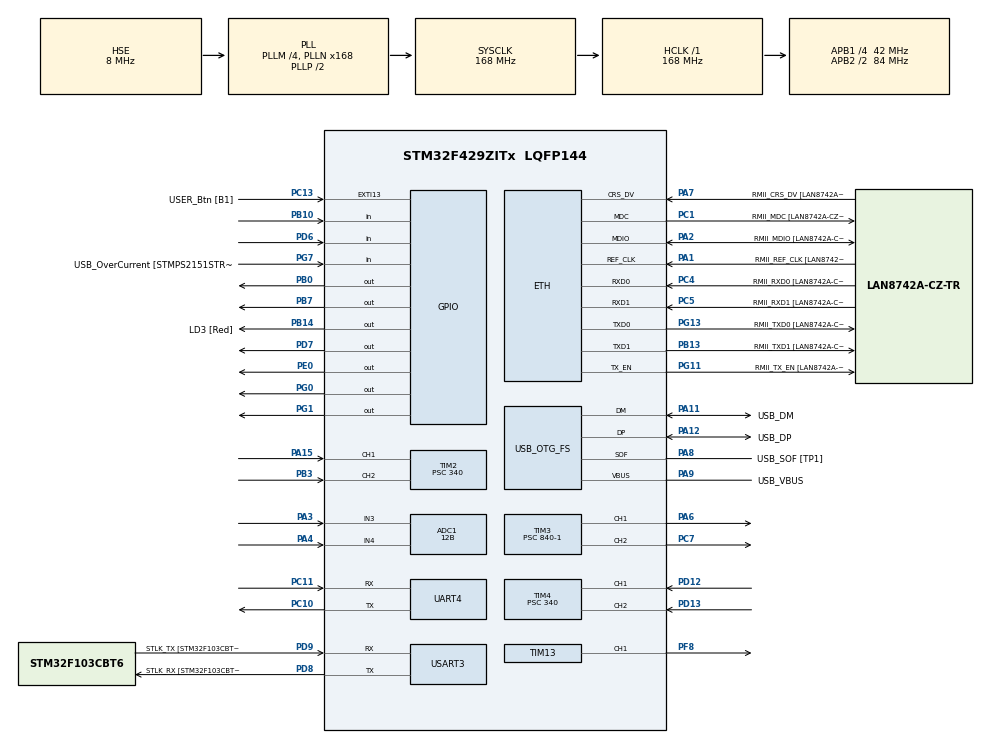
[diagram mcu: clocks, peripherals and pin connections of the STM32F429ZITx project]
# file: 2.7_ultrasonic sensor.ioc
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ADC1.Channel-2\#ChannelRegularConversion=ADC_CHANNEL_3
ADC1.Channel-4\#ChannelRegularConversion=ADC_CHANNEL_4
ADC1.ContinuousConvMode=DISABLE
ADC1.DMAContinuousRequests=ENABLE
ADC1.DiscontinuousConvMode=DISABLE
ADC1.ExternalTrigConv=ADC_EXTERNALTRIGCONV_T8_TRGO
ADC1.NbrOfConversion=2
ADC1.NbrOfConversionFlag=1
ADC1.Rank-2\#ChannelRegularConversion=1
ADC1.Rank-4\#ChannelRegularConversion=2
ADC1.Resolution=ADC_RESOLUTION_12B
ADC1.SamplingTime-2\#ChannelRegularConversion=ADC_SAMPLETIME_480CYCLES
ADC1.SamplingTime-4\#ChannelRegularConversion=ADC_SAMPLETIME_480CYCLES
ADC1.ScanConvMode=ENABLE
ADC1.master=1
Dma.ADC1.0.Direction=DMA_PERIPH_TO_MEMORY
Dma.ADC1.0.FIFOMode=DMA_FIFOMODE_DISABLE
Dma.ADC1.0.Instance=DMA2_Stream0
Dma.ADC1.0.MemDataAlignment=DMA_MDATAALIGN_WORD
Dma.ADC1.0.MemInc=DMA_MINC_ENABLE
Dma.ADC1.0.Mode=DMA_CIRCULAR
Dma.ADC1.0.PeriphDataAlignment=DMA_PDATAALIGN_WORD
Dma.ADC1.0.PeriphInc=DMA_PINC_DISABLE
Dma.ADC1.0.Priority=DMA_PRIORITY_LOW
Dma.Request0=ADC1
Dma.Request1=TIM4_UP
Dma.TIM4_UP.1.Direction=DMA_PERIPH_TO_MEMORY
Dma.TIM4_UP.1.FIFOMode=DMA_FIFOMODE_DISABLE
Dma.TIM4_UP.1.Instance=DMA1_Stream6
Dma.TIM4_UP.1.MemDataAlignment=DMA_MDATAALIGN_HALFWORD
Dma.TIM4_UP.1.MemInc=DMA_MINC_ENABLE
Dma.TIM4_UP.1.Mode=DMA_NORMAL
Dma.TIM4_UP.1.PeriphDataAlignment=DMA_PDATAALIGN_HALFWORD
Dma.TIM4_UP.1.PeriphInc=DMA_PINC_DISABLE
Dma.TIM4_UP.1.Priority=DMA_PRIORITY_LOW
ETH.MediaInterface=HAL_ETH_RMII_MODE
ETH.PHY_Name=LAN8742A_PHY_ADDRESS
ETH.PHY_Value=0
ETH.PhyAddress=0
Mcu.Family=STM32F4
Mcu.Name=STM32F429ZITx
Mcu.Package=LQFP144
NVIC.ADC_IRQn=true\:0\:0\:false\:false\:true\:true\:true\:true
NVIC.DMA1_Stream6_IRQn=true\:0\:0\:false\:false\:true\:false\:true\:true
NVIC.DMA2_Stream0_IRQn=true\:0\:0\:false\:false\:true\:false\:true\:true
NVIC.PriorityGroup=NVIC_PRIORITYGROUP_4
NVIC.TIM3_IRQn=true\:0\:0\:false\:false\:true\:true\:true\:true
NVIC.TIM6_DAC_IRQn=true\:6\:0\:true\:false\:true\:true\:true\:true
NVIC.TIM7_IRQn=true\:5\:0\:true\:false\:true\:true\:true\:true
NVIC.TIM8_TRG_COM_TIM14_IRQn=true\:0\:0\:false\:false\:true\:true\:true\:true
NVIC.TIM8_UP_TIM13_IRQn=true\:0\:0\:false\:false\:true\:true\:true\:true
NVIC.UART4_IRQn=true\:0\:0\:false\:false\:true\:true\:true\:true
NVIC.USART3_IRQn=true\:0\:0\:false\:false\:true\:true\:true\:true
PA1.GPIO_Label=RMII_REF_CLK [LAN8742A-CZ-TR_REFCLK0]
PA1.Mode=RMII
PA1.Signal=ETH_REF_CLK
PA10.GPIO_Label=USB_ID
PA10.Signal=USB_OTG_FS_ID
PA11.GPIO_Label=USB_DM
PA11.Mode=Device_Only
PA11.Signal=USB_OTG_FS_DM
PA12.GPIO_Label=USB_DP
PA12.Mode=Device_Only
PA12.Signal=USB_OTG_FS_DP
PA13.GPIO_Label=TMS
PA13.Mode=Serial_Wire
PA13.Signal=SYS_JTMS-SWDIO
PA14.GPIO_Label=TCK
PA14.Mode=Serial_Wire
PA14.Signal=SYS_JTCK-SWCLK
PA15.Signal=S_TIM2_CH1_ETR
PA2.GPIO_Label=RMII_MDIO [LAN8742A-CZ-TR_MDIO]
PA2.Mode=RMII
PA2.Signal=ETH_MDIO
PA3.Signal=ADCx_IN3
PA4.Signal=ADCx_IN4
PA6.Signal=S_TIM3_CH1
PA7.GPIO_Label=RMII_CRS_DV [LAN8742A-CZ-TR_CRS_DV]
PA7.Mode=RMII
PA7.Signal=ETH_CRS_DV
PA8.GPIO_Label=USB_SOF [TP1]
PA8.Mode=Activate_SOF_FS
PA8.Signal=USB_OTG_FS_SOF
PA9.GPIO_Label=USB_VBUS
PA9.Mode=Activate_VBUS
PA9.Signal=USB_OTG_FS_VBUS
PB0.Signal=GPIO_Output
PB10.Signal=GPIO_Input
PB13.GPIO_Label=RMII_TXD1 [LAN8742A-CZ-TR_TXD1]
PB13.Mode=RMII
PB13.Signal=ETH_TXD1
PB14.GPIO_Label=LD3 [Red]
PB14.Signal=GPIO_Output
PB3.Signal=S_TIM2_CH2
PB7.Signal=GPIO_Output
PC1.GPIO_Label=RMII_MDC [LAN8742A-CZ-TR_MDC]
PC1.Mode=RMII
PC1.Signal=ETH_MDC
PC10.Mode=Asynchronous
PC10.Signal=UART4_TX
PC11.Mode=Asynchronous
PC11.Signal=UART4_RX
PC13.GPIO_Label=USER_Btn [B1]
PC13.Signal=GPXTI13
PC14/OSC32_IN.Mode=LSE-External-Oscillator
PC14/OSC32_IN.Signal=RCC_OSC32_IN
PC15/OSC32_OUT.Mode=LSE-External-Oscillator
PC15/OSC32_OUT.Signal=RCC_OSC32_OUT
PC4.GPIO_Label=RMII_RXD0 [LAN8742A-CZ-TR_RXD0]
PC4.Mode=RMII
PC4.Signal=ETH_RXD0
PC5.GPIO_Label=RMII_RXD1 [LAN8742A-CZ-TR_RXD1]
PC5.Mode=RMII
PC5.Signal=ETH_RXD1
PC7.Signal=S_TIM3_CH2
PD12.Signal=S_TIM4_CH1
PD13.Signal=S_TIM4_CH2
PD6.Signal=GPIO_Input
PD7.Signal=GPIO_Output
PD8.GPIO_Label=STLK_RX [STM32F103CBT6_PA3]
PD8.Mode=Asynchronous
PD8.Signal=USART3_TX
PD9.GPIO_Label=STLK_TX [STM32F103CBT6_PA2]
PD9.Mode=Asynchronous
PD9.Signal=USART3_RX
PE0.Signal=GPIO_Output
PF8.Signal=S_TIM13_CH1
PG0.Signal=GPIO_Output
PG1.Signal=GPIO_Output
PG11.GPIO_Label=RMII_TX_EN [LAN8742A-CZ-TR_TXEN]
PG11.Mode=RMII
PG11.Signal=ETH_TX_EN
PG13.GPIO_Label=RMII_TXD0 [LAN8742A-CZ-TR_TXD0]
PG13.Mode=RMII
PG13.Signal=ETH_TXD0
PG7.GPIO_Label=USB_OverCurrent [STMPS2151STR_FAULT]
PG7.Signal=GPIO_Input
PH0/OSC_IN.GPIO_Label=MCO [STM32F103CBT6_PA8]
PH0/OSC_IN.Mode=HSE-External-Clock-Source
PH0/OSC_IN.Signal=RCC_OSC_IN
PH1/OSC_OUT.Mode=HSE-External-Clock-Source
PH1/OSC_OUT.Signal=RCC_OSC_OUT
ProjectManager.HeapSize=0x200
ProjectManager.StackSize=0x400
ProjectManager.TargetToolchain=STM32CubeIDE
RCC.48MHZClocksFreq_Value=48000000
RCC.AHBFreq_Value=168000000
RCC.APB1CLKDivider=RCC_HCLK_DIV4
RCC.APB1Freq_Value=42000000
RCC.APB1TimFreq_Value=84000000
RCC.APB2CLKDivider=RCC_HCLK_DIV2
RCC.APB2Freq_Value=84000000
RCC.APB2TimCLKDivider=2
RCC.APB2TimFreq_Value=168000000
RCC.CortexFreq_Value=168000000
RCC.HCLKFreq_Value=168000000
RCC.HSE_VALUE=8000000
RCC.HSI_VALUE=16000000
RCC.PLLM=4
RCC.PLLMUL=RCC_PLL_MUL9
RCC.PLLN=168
RCC.PLLQ=7
RCC.PRESCALERUSB=RCC_USBCLKSOURCE_PLL_DIV1_5
RCC.SYSCLKFreq_VALUE=168000000
RCC.SYSCLKSource=RCC_SYSCLKSOURCE_PLLCLK
RCC.SYSCLKSourceVirtual=RCC_SYSCLKSOURCE_PLLCLK
RCC.USBFreq_Value=48000000
RCC.VCOOutputFreq_Value=336000000
SH.ADCx_IN3.0=ADC1_IN3,IN3
SH.ADCx_IN4.0=ADC1_IN4,IN4
SH.S_TIM13_CH1.0=TIM13_CH1,PWM Generation1 CH1
SH.S_TIM2_CH1_ETR.0=TIM2_CH1,Encoder_Interface
SH.S_TIM2_CH2.0=TIM2_CH2,Encoder_Interface
SH.S_TIM3_CH1.0=TIM3_CH1,PWM Generation1 CH1
SH.S_TIM3_CH2.0=TIM3_CH2,PWM Generation2 CH2
SH.S_TIM4_CH1.0=TIM4_CH1,Encoder_Interface
SH.S_TIM4_CH2.0=TIM4_CH2,Encoder_Interface
TIM1.Prescaler=84-1
TIM13.Channel=TIM_CHANNEL_1
TIM13.Period=100
TIM13.Prescaler=84
TIM13.Pulse=50
TIM14.Period=10000-1
TIM14.Prescaler=8400-1
TIM2.EncoderMode=TIM_ENCODERMODE_TI12
TIM2.Period=65000
TIM2.Prescaler=340
TIM3.Channel-PWM\ Generation1\ CH1=TIM_CHANNEL_1
TIM3.Channel-PWM\ Generation2\ CH2=TIM_CHANNEL_2
TIM3.OC1Preload_PWM=DISABLE
TIM3.OC2Preload_PWM=DISABLE
TIM3.Period=1000-1
TIM3.Prescaler=840-1
TIM3.Pulse-PWM\ Generation1\ CH1=100
TIM3.Pulse-PWM\ Generation2\ CH2=100
TIM4.EncoderMode=TIM_ENCODERMODE_TI12
TIM4.Period=65000
TIM4.Prescaler=340
TIM6.Period=1000-1
TIM6.Prescaler=84-1
TIM7.Period=1000-1
TIM7.Prescaler=84-1
TIM8.Channel-Output\ Compare4\ No\ Output=TIM_CHANNEL_4
TIM8.Period=50-1
TIM8.Prescaler=840-1
TIM8.Pulse-Output\ Compare4\ No\ Output=2000
TIM8.TIM_MasterOutputTrigger=TIM_TRGO_UPDATE
UART4.Parity=PARITY_EVEN
UART4.VirtualMode=Asynchronous
USART3.VirtualMode=VM_ASYNC
USB_OTG_FS.VirtualMode=Device_Only
VP_TIM13_VS_ClockSourceINT.Mode=Enable_Timer
VP_TIM14_VS_ClockSourceINT.Mode=Enable_Timer
VP_TIM1_VS_ClockSourceINT.Mode=Internal
VP_TIM3_VS_ClockSourceINT.Mode=Internal
VP_TIM6_VS_ClockSourceINT.Mode=Enable_Timer
VP_TIM7_VS_ClockSourceINT.Mode=Enable_Timer
VP_TIM8_VS_ClockSourceINT.Mode=Internal
VP_TIM8_VS_no_output4.Mode=Output Compare4 No Output
board=NUCLEO-F429ZI

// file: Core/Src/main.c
/* USER CODE BEGIN Header */
/**
  ******************************************************************************
  * @file           : main.c
  * @brief          : Main program body
  ******************************************************************************
  * @attention
  *
  * Copyright (c) 2024 STMicroelectronics.
  * All rights reserved.
  *
  * This software is licensed under terms that can be found in the LICENSE file
  * in the root directory of this software component.
  * If no LICENSE file comes with this software, it is provided AS-IS.
  *
  ******************************************************************************
  */
/* USER CODE END Header */
#include "main.h"
#include "string.h"
#include <stdio.h>
/* USER CODE BEGIN Includes */

 // USER CODE BEGIN 4 ,USER CODE BEGIN PFP  +while?�� printf 추�? ?��
void SerialSendChar_PC(uint8_t c1);
void SerialSendChar_WIFI(uint8_t c2);

uint8_t buffer[256];

extern uint8_t key_value;             //추�?****************************
extern UART_HandleTypeDef huart3;       //추�?****************************
uint8_t key_value;
UART_HandleTypeDef huart3;
uint8_t data;
UART_HandleTypeDef huart4;

uint32_t encoder_count=0;
char uart_buf[30];

int8_t RX_flag=0;

float RPM;
float RPS;
uint16_t RPM_uint16;

uint32_t ADC1_value[2];
uint32_t ADC1_0;
uint32_t ADC1_1;

uint8_t ENC[4];

#define pi 3.141592

//       @@@@@@@@@@@@@@@@@@@@@@@@@@@@@@@@@@@@@@@@@@@@@@@@  PID

float Ra =12.1;
float Kt = 4.534;
float Ke = 4.534;
float B = 0.09;
float Js = 1.84;
float La = 0.0003342;
//float Wci = 804.2;
float Wci = 3142;
//float Wcw = 80.42;
float Wcw = 314;
float a = 0.9;

//I control
float i_input;
float i_sensor;
float i_error;
float i_error_sum=0;
float i_kp = 0.0003342 * 3142 ;
float i_ki = 12.1 * 3142;
float i_ka = 1/(0.0003342 * 3142);
float i_vs=0;
float i_v_ref=0;

float I_KP;
float I_KI;

//Speed control
float speed_input;
float speed_sensor;
float speed_error;
float speed_error_sum = 0.0;
float speed_kp = 0.9* 1.84*314/4.534;  //a*Js*Wcw/Kt
float speed_ki =1.84*314*314/(5*4.534);   //Js*Wcw*Wcw/(5*Kt)
float speed_ka = 1/(1.84*314/4.534);  //1/(Js*Wcw/Kt)
float speed_is=0;
float speed_i_ref=0;
float speed_kps = (1-0.9)*1.84*314/4.534 ;  //(1-a)*Js*Wcw/Kt

float S_KP;
float S_KI;
float Omega;

float x;
float duty=0;

extern int tim6_flag;
uint8_t key_flag;

extern uint8_t time_1s;
extern float set_position;

extern uint8_t stop_flag;

  int count=0;
float f = 1.234;

/* USER CODE END Includes */

/* USER CODE BEGIN PTD */
void SerialSendChar_PC(uint8_t Ch1) // 1문자 보내�?????????????????????????????? ?��?��
{
	// USART_SR_TXE(1<<7)=0?, TX Buffer NOT Empty?
	// TX buffer Empty?���?????????????????????????????? ?��?���?????????????????????????????? 계속 ??�??????????????????????????????(?��?�� �???????????????????????????????��?�� ?��?��까�? ??�??????????????????????????????)
        while((USART3->SR & 1<<7) == RESET);
	USART3->DR = (Ch1 & 0x01FF);	// ?��?�� (최�? 9bit ?���??????????????????????????????�?????????????????????????????? 0x01FF�?????????????????????????????? masking)
}

void SerialSendChar_WIFI(uint8_t Ch2) // 1문자 보내�?????????????????????????????? ?��?��
{
	// USART_SR_TXE(1<<7)=0?, TX Buffer NOT Empty?
	// TX buffer Empty?���?????????????????????????????? ?��?���?????????????????????????????? 계속 ??�??????????????????????????????(?��?�� �???????????????????????????????��?�� ?��?��까�? ??�??????????????????????????????)
        while((UART4->SR & 1<<7) == RESET);
	UART4->DR = (Ch2 & 0x01FF);	// ?��?�� (최�? 9bit ?���??????????????????????????????�?????????????????????????????? 0x01FF�?????????????????????????????? masking)
}

void HAL_UART_RxCpltCallback(UART_HandleTypeDef *huart)
{
	encoder_count=TIM4->CNT;

  if(huart->Instance == USART3)
  {

	  HAL_UART_Receive_IT(&huart3, &key_value, 1);
	  printf("%d,^^ %c \r\n", key_value,key_value);

	  if(key_value=='q')  // forward
	  	 	  {
	  	 		  GPIOE->ODR |= 1<<0;  // forward
	  	 		  GPIOB->ODR |= 1<<0;  //LD1

	  	 	  }
	  else if(key_value=='w')  // back
		  	 	  {
		  	 		  GPIOE->ODR &= ~1<<0;  // back
		  	 		GPIOB->ODR &= ~1<<0;  //LD1
		  	 	  }

	  else if(key_value=='1')
	 	  {
	 		  GPIOG->ODR |= 1<<0;  //stop

	 	  }

	  else  if(key_value=='2')
	  {
		  GPIOG->ODR &= ~1<<0;  //start

	  }
	  else if(key_value=='3')
	  {

			TIM3->CCR1 = 50;
			TIM3->CCR2 = 50;
	  }
	  else if(key_value=='4')
	  	  {

	  			TIM3->CCR1 = 100;
	  			TIM3->CCR2 = 100;
	  	  }
	  else if(key_value=='5')
	  	  	  {

	  	  			TIM3->CCR1 = 500;
	  	  		TIM3->CCR2 = 500;
	  	  	  }
	  else if(key_value=='6')
	  	  	  {

	  	  			TIM3->CCR1 = 800;
	  	  		TIM3->CCR2 = 800;
	  	  	  }
	  else if(key_value=='7')
	  	  	  {

	  	  			TIM3->CCR1 = 1000;
	  	  		TIM3->CCR2 = 1000;
	  	  	  }
	  else if(key_value=='a')
	  {
		  TIM4->CNT=10000;

		  key_flag=1;
	  }
	  else if(key_value=='b')
	 {
		  time_1s=0;
		  set_position=30;
     }
	  else if(key_value=='z')
	  	 	  {

	  	  	  	 speed_input=10*2*pi/60;

	//  	  	  	x=speed_input;
	//  	  	    duty = 2.0881*pow(x,6) - 36.163*pow(x,5) + 248.4*pow(x,4) - 851.05*pow(x,3) + 1486.5*pow(x,2) - 1164.9*x + 249.29;
	  	  //[%]

	  	//  	TIM3->CCR1 = 1000*duty/100;
	  	//  		TIM3->CCR2 = 1000*duty/100;
	  	  	  	  }
	  else if(key_value=='x')
	  	  	  	  {
	  	  	  	GPIOB->ODR &= ~1<<0;

	  	  	   speed_input=45*2*pi/60;

  	// 	   x=speed_input;
	 //		  duty = 2.0881*pow(x,6) - 36.163*pow(x,5) + 248.4*pow(x,4) - 851.05*pow(x,3) + 1486.5*pow(x,2) - 1164.9*x + 249.29;
	  	  		 	  //[%]
	  	//	  TIM3->CCR1 = 1000*duty/100;
	  	//		  	TIM3->CCR2 = 1000*duty/100;

	  	  	  	  }
	  else if(key_value=='c')
 	  	  	  {
	  	  	  	GPIOB->ODR &= ~1<<0;

	//  	  	HAL_TIM_Base_Stop_IT(&htim6);
	 	  	  	  	  }

  }
  if(huart->Instance == UART4)
    {
	  HAL_UART_Receive_IT(&huart4, &data, 1);

		switch(data)
		{
		case '0':
			 GPIOB->ODR |= 1<<0;
			GPIOG->ODR &= ~1<<0;// start

			break;

		case '1':  //stop
			  GPIOB->ODR &= ~1<<0;
	          GPIOG->ODR |= 1<<0;
			break;

		case '2':  //dir
			  GPIOE->ODR |= 1<<0;  // forward
			break;

		case '3'://dir
			 GPIOE->ODR &= ~1<<0;  //back
			break;

		case '4':

		    TIM3->CCR1 = 0;
			TIM3->CCR2 = 0;

			break;

		case '5':
			TIM3->CCR1 = 50;
			TIM3->CCR2 = 50;
			break;

		case '6':
			TIM3->CCR1 = 200;
			TIM3->CCR2 = 200;
			break;

		case '7':
			TIM3->CCR1 = 1000;
			TIM3->CCR2 = 1000;
			break;

		case '!':
			RX_flag=1;
			 TIM2->CNT=0;
			 TIM4->CNT=0;
			break;
		case 'A':  //Tx

			RX_flag=2;
				break;
		}

    }

}

/* USER CODE END PTD */

/* USER CODE BEGIN PD */
int _write(int file, char* p, int len){
	for(int i=0; i<len; i++){
		ITM_SendChar((*p++));
	}
	return len;
}

/* USER CODE END PD */

ETH_TxPacketConfig TxConfig;
ETH_DMADescTypeDef  DMARxDscrTab[ETH_RX_DESC_CNT]; /* Ethernet Rx DMA Descriptors */
ETH_DMADescTypeDef  DMATxDscrTab[ETH_TX_DESC_CNT]; /* Ethernet Tx DMA Descriptors */

ADC_HandleTypeDef hadc1;
DMA_HandleTypeDef hdma_adc1;

ETH_HandleTypeDef heth;

TIM_HandleTypeDef htim1;
TIM_HandleTypeDef htim2;
TIM_HandleTypeDef htim3;
TIM_HandleTypeDef htim4;
TIM_HandleTypeDef htim6;
TIM_HandleTypeDef htim7;
TIM_HandleTypeDef htim8;
TIM_HandleTypeDef htim13;
TIM_HandleTypeDef htim14;
DMA_HandleTypeDef hdma_tim4_up;

UART_HandleTypeDef huart4;
UART_HandleTypeDef huart3;

PCD_HandleTypeDef hpcd_USB_OTG_FS;

/* USER CODE BEGIN PV */
#define TRIG_PIN GPIO_PIN_7
#define TRIG_PORT GPIOD
#define ECHO_PIN GPIO_PIN_6
#define ECHO_PORT GPIOD
uint32_t pMillis;
uint32_t Value1 = 0;
uint32_t Value2 = 0;
float Distance  = 0;  // cm
/* USER CODE END PV */

void SystemClock_Config(void);
static void MX_GPIO_Init(void);
static void MX_DMA_Init(void);
static void MX_ETH_Init(void);
static void MX_USART3_UART_Init(void);
static void MX_USB_OTG_FS_PCD_Init(void);
static void MX_TIM3_Init(void);
static void MX_TIM14_Init(void);
static void MX_ADC1_Init(void);
static void MX_TIM4_Init(void);
static void MX_UART4_Init(void);
static void MX_TIM2_Init(void);
static void MX_TIM8_Init(void);
static void MX_TIM6_Init(void);
static void MX_TIM7_Init(void);
static void MX_TIM13_Init(void);
static void MX_TIM1_Init(void);
/* USER CODE BEGIN PFP */
#ifdef __GNUC__           //추�?****************************
/* With GCC, small printf (option LD Linker->Libraries->Small printf
   set to 'Yes') calls __io_putchar() */
#define PUTCHAR_PROTOTYPE int __io_putchar(int ch)
#else
#define PUTCHAR_PROTOTYPE int fputc(int ch, FILE *f)
#endif /* __GNUC__ */

/**
  * @brief  Retargets the C library printf function to the USART.
  * @param  None
  * @retval None
  */
PUTCHAR_PROTOTYPE              //추�?****************************
{
  /* Place your implementation of fputc here */
  /* e.g. write a character to the USART3 and Loop until the end of transmission */
  if(ch=='\n')
	  HAL_UART_Transmit(&huart3, (uint8_t *)"\r", 1, 0xFFFF);
	HAL_UART_Transmit(&huart3, (uint8_t *)&ch, 1, 0xFFFF);

  return ch;
}

/* USER CODE END PFP */

/* USER CODE BEGIN 0 */
//HAL_UART_Receive_IT(&huart3, &key_value, 1);

void delay_us(uint16_t time) {
	__HAL_TIM_SET_COUNTER(&htim7, 0);              // ???��머�?? 0?���???? 초기?��
	while((__HAL_TIM_GET_COUNTER(&htim7))<time);   // ?��?��?�� ?��간까�???? ??�????
}

/* USER CODE END 0 */

int main(void)
{

  /* MCU Configuration--------------------------------------------------------*/

  /* Reset of all peripherals, Initializes the Flash interface and the Systick. */
    HAL_Init();

  /* Configure the system clock */
  SystemClock_Config();

  /* Initialize all configured peripherals */
  MX_GPIO_Init();
  MX_DMA_Init();
  MX_ETH_Init();
  MX_USART3_UART_Init();
  MX_USB_OTG_FS_PCD_Init();
  MX_TIM3_Init();
  MX_TIM14_Init();
  MX_ADC1_Init();
  MX_TIM4_Init();
  MX_UART4_Init();
  MX_TIM2_Init();
  MX_TIM8_Init();
  MX_TIM6_Init();
  MX_TIM7_Init();
  MX_TIM13_Init();
  MX_TIM1_Init();
  /* USER CODE BEGIN 2 */

  HAL_UART_Receive_IT(&huart3, &key_value, 1);     //추�?****************************
  HAL_UART_Receive_IT(&huart4, &data, 1);

  HAL_ADC_Start_DMA(&hadc1, (uint32_t*)ADC1_value, 2);

   sprintf((char *)buffer, "Hello, World!\n");
   HAL_UART_Transmit(&huart4, buffer, strlen((char *)buffer), 100);

   HAL_TIM_Base_Start_IT(&htim6);
   HAL_TIM_Base_Start_IT(&htim7);

   HAL_TIM_Base_Start(&htim1);
     HAL_GPIO_WritePin(TRIG_PORT, TRIG_PIN, GPIO_PIN_RESET);  // pull the TRIG pin low

//  HAL_ADC_Start_DMA(&hadc1,&ADC1_value[1], 1);
  /* USER CODE END 2 */

  /* Infinite loop */
  while (1)
  {

    /* USER CODE BEGIN 3 */
	  if(tim6_flag==1)
	  {

	  HAL_GPIO_WritePin(TRIG_PORT, TRIG_PIN, GPIO_PIN_SET);  // pull the TRIG pin HIGH
	    	      __HAL_TIM_SET_COUNTER(&htim1, 0);
	    	      while (__HAL_TIM_GET_COUNTER (&htim1) < 10);  // wait for 10 us
	    	      HAL_GPIO_WritePin(TRIG_PORT, TRIG_PIN, GPIO_PIN_RESET);  // pull the TRIG pin low

	    	      pMillis = HAL_GetTick(); // used this to avoid infinite while loop  (for timeout)
	    	      // wait for the echo pin to go high
	    	      while (!(HAL_GPIO_ReadPin (ECHO_PORT, ECHO_PIN)) && pMillis + 10 >  HAL_GetTick());
	    	      Value1 = __HAL_TIM_GET_COUNTER (&htim1);

	    	      pMillis = HAL_GetTick(); // used this to avoid infinite while loop (for timeout)
	    	      // wait for the echo pin to go low
	    	      while ((HAL_GPIO_ReadPin (ECHO_PORT, ECHO_PIN)) && pMillis + 50 > HAL_GetTick());
	    	      Value2 = __HAL_TIM_GET_COUNTER (&htim1);

	    	      Distance = (Value2-Value1)* 0.017/2;
	    	 //     printf("Distance = %f \r\n",Distance);
	    	      sprintf((char *)buffer, "%d \r\n",Distance);
	    	      HAL_UART_Transmit(&huart3, buffer, strlen((char *)buffer), 100);
	    	      tim6_flag=0;
	  }

//	  TIM3->CCR1 = 1000*duty/100;
 // 	TIM3->CCR2 = 1000*duty/100;

	  	  	  RPM_uint16=RPM*100;

	  		  		  ENC[3]=RPM_uint16 / 1000;		// 10000 ?���??????????????????????????????
	  		  		 		ENC[2]=RPM_uint16 % 1000/100;	// 1000 ?���??????????????????????????????
	  		  		 		ENC[1]= RPM_uint16 % 100/10;	// 100 ?���??????????????????????????????
	  		  		 	ENC[0]=RPM_uint16 % 10/1;		// 10 ?���??????????????????????????????

	  		  	SerialSendChar_WIFI('?');

	  		  			SerialSendChar_WIFI('0');
	  		  			SerialSendChar_WIFI('0');
	  		  			SerialSendChar_WIFI('0');
	  		  			SerialSendChar_WIFI('0');

	  		  	      SerialSendChar_WIFI(ENC[3]+0x30);
	  		  	 	    SerialSendChar_WIFI(ENC[2]+0x30);
	  		  	  	  SerialSendChar_WIFI(ENC[1]+0x30);
	  		  		  SerialSendChar_WIFI(ENC[0]+0x30);

	  		  		//  sprintf((char *)buffer, "%d \r\n",RPM_uint16);
	  		  	//	 	  		  	  HAL_UART_Transmit(&huart3, buffer, strlen((char *)buffer), 100);

	//  	SerialSendChar_PC('\n');
//	  	SerialSendChar_PC('\r');

//	  sprintf((char *)buffer, "%d \r\n",ADC1_1);
	//  	  HAL_UART_Transmit(&huart4, buffer, strlen((char *)buffer), 100);

	//  	 sprintf((char *)buffer, "%d \r\n",RPM_uint16);
	  //		  	  HAL_UART_Transmit(&huart3, buffer, strlen((char *)buffer), 100);
	//  	  HAL_Delay(2000);

/*
if(encoder_count>=512)
{
	TIM3->CCR1 = 0;  //TIM3->CCR1
}
*/
	  if(RX_flag==1)
	  {
		 // RX_flag=0;
		//  TIM4->CNT=0;
	  	 		TIM3->CCR1 = 1000;
	  	 		TIM3->CCR2 = 1000;
	  	 			if(encoder_count>=1200)
	  		 		{
	  	 				TIM3->CCR1 = 50;

	  	 				GPIOG->ODR |= 1<<0;
	  	 				HAL_Delay(100);
	  	 				GPIOG->ODR &= ~1<<0;
	  	 				TIM3->CCR1 = 50;
	  	 				if(encoder_count>=512*3)
	  	 				{
	  	 					TIM3->CCR1 = 0;
	  	 					RX_flag=0;
	  	 				}

	  	 	     	}

	  }

//	  HAL_Delay(1);

  }
  /* USER CODE END 3 */
}

void SystemClock_Config(void)
{
  RCC_OscInitTypeDef RCC_OscInitStruct = {0};
  RCC_ClkInitTypeDef RCC_ClkInitStruct = {0};

  /** Configure the main internal regulator output voltage
  */
  __HAL_RCC_PWR_CLK_ENABLE();
  __HAL_PWR_VOLTAGESCALING_CONFIG(PWR_REGULATOR_VOLTAGE_SCALE1);

  /** Initializes the RCC Oscillators according to the specified parameters
  * in the RCC_OscInitTypeDef structure.
  */
  RCC_OscInitStruct.OscillatorType = RCC_OSCILLATORTYPE_HSE;
  RCC_OscInitStruct.HSEState = RCC_HSE_BYPASS;
  RCC_OscInitStruct.PLL.PLLState = RCC_PLL_ON;
  RCC_OscInitStruct.PLL.PLLSource = RCC_PLLSOURCE_HSE;
  RCC_OscInitStruct.PLL.PLLM = 4;
  RCC_OscInitStruct.PLL.PLLN = 168;
  RCC_OscInitStruct.PLL.PLLP = RCC_PLLP_DIV2;
  RCC_OscInitStruct.PLL.PLLQ = 7;
  if (HAL_RCC_OscConfig(&RCC_OscInitStruct) != HAL_OK)
  {
    Error_Handler();
  }

  /** Initializes the CPU, AHB and APB buses clocks
  */
  RCC_ClkInitStruct.ClockType = RCC_CLOCKTYPE_HCLK|RCC_CLOCKTYPE_SYSCLK
                              |RCC_CLOCKTYPE_PCLK1|RCC_CLOCKTYPE_PCLK2;
  RCC_ClkInitStruct.SYSCLKSource = RCC_SYSCLKSOURCE_PLLCLK;
  RCC_ClkInitStruct.AHBCLKDivider = RCC_SYSCLK_DIV1;
  RCC_ClkInitStruct.APB1CLKDivider = RCC_HCLK_DIV4;
  RCC_ClkInitStruct.APB2CLKDivider = RCC_HCLK_DIV2;

  if (HAL_RCC_ClockConfig(&RCC_ClkInitStruct, FLASH_LATENCY_5) != HAL_OK)
  {
    Error_Handler();
  }
}

static void MX_ADC1_Init(void)
{

  ADC_ChannelConfTypeDef sConfig = {0};

  /** Configure the global features of the ADC (Clock, Resolution, Data Alignment and number of conversion)
  */
  hadc1.Instance = ADC1;
  hadc1.Init.ClockPrescaler = ADC_CLOCK_SYNC_PCLK_DIV4;
  hadc1.Init.Resolution = ADC_RESOLUTION_12B;
  hadc1.Init.ScanConvMode = ENABLE;
  hadc1.Init.ContinuousConvMode = DISABLE;
  hadc1.Init.DiscontinuousConvMode = DISABLE;
  hadc1.Init.ExternalTrigConvEdge = ADC_EXTERNALTRIGCONVEDGE_RISING;
  hadc1.Init.ExternalTrigConv = ADC_EXTERNALTRIGCONV_T8_TRGO;
  hadc1.Init.DataAlign = ADC_DATAALIGN_RIGHT;
  hadc1.Init.NbrOfConversion = 2;
  hadc1.Init.DMAContinuousRequests = ENABLE;
  hadc1.Init.EOCSelection = ADC_EOC_SINGLE_CONV;
  if (HAL_ADC_Init(&hadc1) != HAL_OK)
  {
    Error_Handler();
  }

  /** Configure for the selected ADC regular channel its corresponding rank in the sequencer and its sample time.
  */
  sConfig.Channel = ADC_CHANNEL_3;
  sConfig.Rank = 1;
  sConfig.SamplingTime = ADC_SAMPLETIME_480CYCLES;
  if (HAL_ADC_ConfigChannel(&hadc1, &sConfig) != HAL_OK)
  {
    Error_Handler();
  }

  /** Configure for the selected ADC regular channel its corresponding rank in the sequencer and its sample time.
  */
  sConfig.Channel = ADC_CHANNEL_4;
  sConfig.Rank = 2;
  if (HAL_ADC_ConfigChannel(&hadc1, &sConfig) != HAL_OK)
  {
    Error_Handler();
  }
  /* USER CODE BEGIN ADC1_Init 2 */
  ADC1->CR1 |=  (1<<5);		// EOCIE=1: Interrupt enable for EOC
  NVIC->ISER[0] |= (1<<18);	// Enable ADC global Interrupt             ?��링파?��?��?�� 추�?

  //HAL_ADC_Start_DMA(&hadc1, &ADC1_value,2);
  // HAL_ADC_Start_DMA(&hadc1, &ADC1_value[1], 1);
  /* USER CODE END ADC1_Init 2 */

}

static void MX_ETH_Init(void)
{

   static uint8_t MACAddr[6];

  heth.Instance = ETH;
  MACAddr[0] = 0x00;
  MACAddr[1] = 0x80;
  MACAddr[2] = 0xE1;
  MACAddr[3] = 0x00;
  MACAddr[4] = 0x00;
  MACAddr[5] = 0x00;
  heth.Init.MACAddr = &MACAddr[0];
  heth.Init.MediaInterface = HAL_ETH_RMII_MODE;
  heth.Init.TxDesc = DMATxDscrTab;
  heth.Init.RxDesc = DMARxDscrTab;
  heth.Init.RxBuffLen = 1524;

  if (HAL_ETH_Init(&heth) != HAL_OK)
  {
    Error_Handler();
  }

  memset(&TxConfig, 0 , sizeof(ETH_TxPacketConfig));
  TxConfig.Attributes = ETH_TX_PACKETS_FEATURES_CSUM | ETH_TX_PACKETS_FEATURES_CRCPAD;
  TxConfig.ChecksumCtrl = ETH_CHECKSUM_IPHDR_PAYLOAD_INSERT_PHDR_CALC;
  TxConfig.CRCPadCtrl = ETH_CRC_PAD_INSERT;

}

static void MX_TIM1_Init(void)
{

  TIM_ClockConfigTypeDef sClockSourceConfig = {0};
  TIM_MasterConfigTypeDef sMasterConfig = {0};

  htim1.Instance = TIM1;
  htim1.Init.Prescaler = 84-1;
  htim1.Init.CounterMode = TIM_COUNTERMODE_UP;
  htim1.Init.Period = 65535;
  htim1.Init.ClockDivision = TIM_CLOCKDIVISION_DIV1;
  htim1.Init.RepetitionCounter = 0;
  htim1.Init.AutoReloadPreload = TIM_AUTORELOAD_PRELOAD_DISABLE;
  if (HAL_TIM_Base_Init(&htim1) != HAL_OK)
  {
    Error_Handler();
  }
  sClockSourceConfig.ClockSource = TIM_CLOCKSOURCE_INTERNAL;
  if (HAL_TIM_ConfigClockSource(&htim1, &sClockSourceConfig) != HAL_OK)
  {
    Error_Handler();
  }
  sMasterConfig.MasterOutputTrigger = TIM_TRGO_RESET;
  sMasterConfig.MasterSlaveMode = TIM_MASTERSLAVEMODE_DISABLE;
  if (HAL_TIMEx_MasterConfigSynchronization(&htim1, &sMasterConfig) != HAL_OK)
  {
    Error_Handler();
  }

}

static void MX_TIM2_Init(void)
{

  TIM_Encoder_InitTypeDef sConfig = {0};
  TIM_MasterConfigTypeDef sMasterConfig = {0};

  htim2.Instance = TIM2;
  htim2.Init.Prescaler = 340;
  htim2.Init.CounterMode = TIM_COUNTERMODE_UP;
  htim2.Init.Period = 65000;
  htim2.Init.ClockDivision = TIM_CLOCKDIVISION_DIV1;
  htim2.Init.AutoReloadPreload = TIM_AUTORELOAD_PRELOAD_DISABLE;
  sConfig.EncoderMode = TIM_ENCODERMODE_TI12;
  sConfig.IC1Polarity = TIM_ICPOLARITY_RISING;
  sConfig.IC1Selection = TIM_ICSELECTION_DIRECTTI;
  sConfig.IC1Prescaler = TIM_ICPSC_DIV1;
  sConfig.IC1Filter = 0;
  sConfig.IC2Polarity = TIM_ICPOLARITY_RISING;
  sConfig.IC2Selection = TIM_ICSELECTION_DIRECTTI;
  sConfig.IC2Prescaler = TIM_ICPSC_DIV1;
  sConfig.IC2Filter = 0;
  if (HAL_TIM_Encoder_Init(&htim2, &sConfig) != HAL_OK)
  {
    Error_Handler();
  }
  sMasterConfig.MasterOutputTrigger = TIM_TRGO_RESET;
  sMasterConfig.MasterSlaveMode = TIM_MASTERSLAVEMODE_DISABLE;
  if (HAL_TIMEx_MasterConfigSynchronization(&htim2, &sMasterConfig) != HAL_OK)
  {
    Error_Handler();
  }
  /* USER CODE BEGIN TIM2_Init 2 */
  HAL_TIM_Encoder_Start(&htim2, TIM_CHANNEL_ALL);
  /* USER CODE END TIM2_Init 2 */

}

static void MX_TIM3_Init(void)
{

  TIM_ClockConfigTypeDef sClockSourceConfig = {0};
  TIM_MasterConfigTypeDef sMasterConfig = {0};
  TIM_OC_InitTypeDef sConfigOC = {0};

  htim3.Instance = TIM3;
  htim3.Init.Prescaler = 840-1;
  htim3.Init.CounterMode = TIM_COUNTERMODE_UP;
  htim3.Init.Period = 1000-1;
  htim3.Init.ClockDivision = TIM_CLOCKDIVISION_DIV1;
  htim3.Init.AutoReloadPreload = TIM_AUTORELOAD_PRELOAD_DISABLE;
  if (HAL_TIM_Base_Init(&htim3) != HAL_OK)
  {
    Error_Handler();
  }
  sClockSourceConfig.ClockSource = TIM_CLOCKSOURCE_INTERNAL;
  if (HAL_TIM_ConfigClockSource(&htim3, &sClockSourceConfig) != HAL_OK)
  {
    Error_Handler();
  }
  if (HAL_TIM_PWM_Init(&htim3) != HAL_OK)
  {
    Error_Handler();
  }
  sMasterConfig.MasterOutputTrigger = TIM_TRGO_RESET;
  sMasterConfig.MasterSlaveMode = TIM_MASTERSLAVEMODE_DISABLE;
  if (HAL_TIMEx_MasterConfigSynchronization(&htim3, &sMasterConfig) != HAL_OK)
  {
    Error_Handler();
  }
  sConfigOC.OCMode = TIM_OCMODE_PWM1;
  sConfigOC.Pulse = 100;
  sConfigOC.OCPolarity = TIM_OCPOLARITY_HIGH;
  sConfigOC.OCFastMode = TIM_OCFAST_DISABLE;
  if (HAL_TIM_PWM_ConfigChannel(&htim3, &sConfigOC, TIM_CHANNEL_1) != HAL_OK)
  {
    Error_Handler();
  }
  __HAL_TIM_DISABLE_OCxPRELOAD(&htim3, TIM_CHANNEL_1);
  if (HAL_TIM_PWM_ConfigChannel(&htim3, &sConfigOC, TIM_CHANNEL_2) != HAL_OK)
  {
    Error_Handler();
  }
  __HAL_TIM_DISABLE_OCxPRELOAD(&htim3, TIM_CHANNEL_2);
  /* USER CODE BEGIN TIM3_Init 2 */
  TIM3->DIER |= (1<<1);   // CC1IE: Enable the Tim3 CC1 interrupt
   NVIC->ISER[0] |= (1<<29); // TIM3_CC
   TIM3->CCER	|= (1<<0);	// CC1E=1: OC1(TIM5_CH1) Active(Capture/Compare 1 output enable)
    					// ?��?��??(40�?????????????????????????????????)?�� ?��?�� ?��?��출력
   TIM3->CR1	|= (1<<0);	// CEN: Counter TIM3 enable

  HAL_TIM_PWM_Start_IT(&htim3, TIM_CHANNEL_1);

  /* USER CODE END TIM3_Init 2 */
  HAL_TIM_MspPostInit(&htim3);

}

static void MX_TIM4_Init(void)
{

  TIM_Encoder_InitTypeDef sConfig = {0};
  TIM_MasterConfigTypeDef sMasterConfig = {0};

  htim4.Instance = TIM4;
  htim4.Init.Prescaler = 340;
  htim4.Init.CounterMode = TIM_COUNTERMODE_UP;
  htim4.Init.Period = 65000;
  htim4.Init.ClockDivision = TIM_CLOCKDIVISION_DIV1;
  htim4.Init.AutoReloadPreload = TIM_AUTORELOAD_PRELOAD_DISABLE;
  sConfig.EncoderMode = TIM_ENCODERMODE_TI12;
  sConfig.IC1Polarity = TIM_ICPOLARITY_RISING;
  sConfig.IC1Selection = TIM_ICSELECTION_DIRECTTI;
  sConfig.IC1Prescaler = TIM_ICPSC_DIV1;
  sConfig.IC1Filter = 0;
  sConfig.IC2Polarity = TIM_ICPOLARITY_RISING;
  sConfig.IC2Selection = TIM_ICSELECTION_DIRECTTI;
  sConfig.IC2Prescaler = TIM_ICPSC_DIV1;
  sConfig.IC2Filter = 0;
  if (HAL_TIM_Encoder_Init(&htim4, &sConfig) != HAL_OK)
  {
    Error_Handler();
  }
  sMasterConfig.MasterOutputTrigger = TIM_TRGO_RESET;
  sMasterConfig.MasterSlaveMode = TIM_MASTERSLAVEMODE_DISABLE;
  if (HAL_TIMEx_MasterConfigSynchronization(&htim4, &sMasterConfig) != HAL_OK)
  {
    Error_Handler();
  }
  /* USER CODE BEGIN TIM4_Init 2 */
  HAL_TIM_Encoder_Start(&htim4, TIM_CHANNEL_ALL);
  /* USER CODE END TIM4_Init 2 */

}

static void MX_TIM6_Init(void)
{

  TIM_MasterConfigTypeDef sMasterConfig = {0};

  htim6.Instance = TIM6;
  htim6.Init.Prescaler = 84-1;
  htim6.Init.CounterMode = TIM_COUNTERMODE_UP;
  htim6.Init.Period = 100-1;
  htim6.Init.AutoReloadPreload = TIM_AUTORELOAD_PRELOAD_DISABLE;
  if (HAL_TIM_Base_Init(&htim6) != HAL_OK)
  {
    Error_Handler();
  }
  sMasterConfig.MasterOutputTrigger = TIM_TRGO_RESET;
  sMasterConfig.MasterSlaveMode = TIM_MASTERSLAVEMODE_DISABLE;
  if (HAL_TIMEx_MasterConfigSynchronization(&htim6, &sMasterConfig) != HAL_OK)
  {
    Error_Handler();
  }
  /* USER CODE BEGIN TIM6_Init 2 */
  HAL_TIM_Base_Start_IT(&htim6);
  /* USER CODE END TIM6_Init 2 */

}

static void MX_TIM7_Init(void)
{

  TIM_MasterConfigTypeDef sMasterConfig = {0};

  htim7.Instance = TIM7;
  htim7.Init.Prescaler = 84-1;
  htim7.Init.CounterMode = TIM_COUNTERMODE_UP;
  htim7.Init.Period = 1000-1;
  htim7.Init.AutoReloadPreload = TIM_AUTORELOAD_PRELOAD_DISABLE;
  if (HAL_TIM_Base_Init(&htim7) != HAL_OK)
  {
    Error_Handler();
  }
  sMasterConfig.MasterOutputTrigger = TIM_TRGO_RESET;
  sMasterConfig.MasterSlaveMode = TIM_MASTERSLAVEMODE_DISABLE;
  if (HAL_TIMEx_MasterConfigSynchronization(&htim7, &sMasterConfig) != HAL_OK)
  {
    Error_Handler();
  }
  /* USER CODE BEGIN TIM7_Init 2 */
  HAL_TIM_Base_Start(&htim7);
  /* USER CODE END TIM7_Init 2 */

}

static void MX_TIM8_Init(void)
{

  TIM_ClockConfigTypeDef sClockSourceConfig = {0};
  TIM_MasterConfigTypeDef sMasterConfig = {0};
  TIM_OC_InitTypeDef sConfigOC = {0};
  TIM_BreakDeadTimeConfigTypeDef sBreakDeadTimeConfig = {0};

  htim8.Instance = TIM8;
  htim8.Init.Prescaler = 840-1;
  htim8.Init.CounterMode = TIM_COUNTERMODE_UP;
  htim8.Init.Period = 50-1;
  htim8.Init.ClockDivision = TIM_CLOCKDIVISION_DIV1;
  htim8.Init.RepetitionCounter = 0;
  htim8.Init.AutoReloadPreload = TIM_AUTORELOAD_PRELOAD_DISABLE;
  if (HAL_TIM_Base_Init(&htim8) != HAL_OK)
  {
    Error_Handler();
  }
  sClockSourceConfig.ClockSource = TIM_CLOCKSOURCE_INTERNAL;
  if (HAL_TIM_ConfigClockSource(&htim8, &sClockSourceConfig) != HAL_OK)
  {
    Error_Handler();
  }
  if (HAL_TIM_OC_Init(&htim8) != HAL_OK)
  {
    Error_Handler();
  }
  sMasterConfig.MasterOutputTrigger = TIM_TRGO_UPDATE;
  sMasterConfig.MasterSlaveMode = TIM_MASTERSLAVEMODE_DISABLE;
  if (HAL_TIMEx_MasterConfigSynchronization(&htim8, &sMasterConfig) != HAL_OK)
  {
    Error_Handler();
  }
  sConfigOC.OCMode = TIM_OCMODE_TIMING;
  sConfigOC.Pulse = 2000;
  sConfigOC.OCPolarity = TIM_OCPOLARITY_HIGH;
  sConfigOC.OCFastMode = TIM_OCFAST_DISABLE;
  sConfigOC.OCIdleState = TIM_OCIDLESTATE_RESET;
  sConfigOC.OCNIdleState = TIM_OCNIDLESTATE_RESET;
  if (HAL_TIM_OC_ConfigChannel(&htim8, &sConfigOC, TIM_CHANNEL_4) != HAL_OK)
  {
    Error_Handler();
  }
  sBreakDeadTimeConfig.OffStateRunMode = TIM_OSSR_DISABLE;
  sBreakDeadTimeConfig.OffStateIDLEMode = TIM_OSSI_DISABLE;
  sBreakDeadTimeConfig.LockLevel = TIM_LOCKLEVEL_OFF;
  sBreakDeadTimeConfig.DeadTime = 0;
  sBreakDeadTimeConfig.BreakState = TIM_BREAK_DISABLE;
  sBreakDeadTimeConfig.BreakPolarity = TIM_BREAKPOLARITY_HIGH;
  sBreakDeadTimeConfig.AutomaticOutput = TIM_AUTOMATICOUTPUT_DISABLE;
  if (HAL_TIMEx_ConfigBreakDeadTime(&htim8, &sBreakDeadTimeConfig) != HAL_OK)
  {
    Error_Handler();
  }
  /* USER CODE BEGIN TIM8_Init 2 */
  HAL_TIM_Base_Start_IT(&htim8);
  /* USER CODE END TIM8_Init 2 */

}

static void MX_TIM13_Init(void)
{

  TIM_OC_InitTypeDef sConfigOC = {0};

  htim13.Instance = TIM13;
  htim13.Init.Prescaler = 84;
  htim13.Init.CounterMode = TIM_COUNTERMODE_UP;
  htim13.Init.Period = 100;
  htim13.Init.ClockDivision = TIM_CLOCKDIVISION_DIV1;
  htim13.Init.AutoReloadPreload = TIM_AUTORELOAD_PRELOAD_DISABLE;
  if (HAL_TIM_Base_Init(&htim13) != HAL_OK)
  {
    Error_Handler();
  }
  if (HAL_TIM_PWM_Init(&htim13) != HAL_OK)
  {
    Error_Handler();
  }
  sConfigOC.OCMode = TIM_OCMODE_PWM1;
  sConfigOC.Pulse = 50;
  sConfigOC.OCPolarity = TIM_OCPOLARITY_HIGH;
  sConfigOC.OCFastMode = TIM_OCFAST_DISABLE;
  if (HAL_TIM_PWM_ConfigChannel(&htim13, &sConfigOC, TIM_CHANNEL_1) != HAL_OK)
  {
    Error_Handler();
  }
  /* USER CODE BEGIN TIM13_Init 2 */
  HAL_TIM_MspPostInit(&htim13);
  /* USER CODE END TIM13_Init 2 */
  HAL_TIM_MspPostInit(&htim13);

}

static void MX_TIM14_Init(void)
{

  htim14.Instance = TIM14;
  htim14.Init.Prescaler = 8400-1;
  htim14.Init.CounterMode = TIM_COUNTERMODE_UP;
  htim14.Init.Period = 10000-1;
  htim14.Init.ClockDivision = TIM_CLOCKDIVISION_DIV1;
  htim14.Init.AutoReloadPreload = TIM_AUTORELOAD_PRELOAD_DISABLE;
  if (HAL_TIM_Base_Init(&htim14) != HAL_OK)
  {
    Error_Handler();
  }
  /* USER CODE BEGIN TIM14_Init 2 */
  TIM14->DIER |= (1<<0);   // CC1IE: Enable the Tim14 UG interrupt
   NVIC->ISER[1] |= (1<<(45-32)); // TIM14_CC

   TIM14->CR1	|= (1<<0);	// CEN: Counter TIM14 enable

  /* USER CODE END TIM14_Init 2 */

}

static void MX_UART4_Init(void)
{

  huart4.Instance = UART4;
  huart4.Init.BaudRate = 115200;
  huart4.Init.WordLength = UART_WORDLENGTH_8B;
  huart4.Init.StopBits = UART_STOPBITS_1;
  huart4.Init.Parity = UART_PARITY_EVEN;
  huart4.Init.Mode = UART_MODE_TX_RX;
  huart4.Init.HwFlowCtl = UART_HWCONTROL_NONE;
  huart4.Init.OverSampling = UART_OVERSAMPLING_16;
  if (HAL_UART_Init(&huart4) != HAL_OK)
  {
    Error_Handler();
  }

}

static void MX_USART3_UART_Init(void)
{

  huart3.Instance = USART3;
  huart3.Init.BaudRate = 115200;
  huart3.Init.WordLength = UART_WORDLENGTH_8B;
  huart3.Init.StopBits = UART_STOPBITS_1;
  huart3.Init.Parity = UART_PARITY_NONE;
  huart3.Init.Mode = UART_MODE_TX_RX;
  huart3.Init.HwFlowCtl = UART_HWCONTROL_NONE;
  huart3.Init.OverSampling = UART_OVERSAMPLING_16;
  if (HAL_UART_Init(&huart3) != HAL_OK)
  {
    Error_Handler();
  }

}

static void MX_USB_OTG_FS_PCD_Init(void)
{

  hpcd_USB_OTG_FS.Instance = USB_OTG_FS;
  hpcd_USB_OTG_FS.Init.dev_endpoints = 4;
  hpcd_USB_OTG_FS.Init.speed = PCD_SPEED_FULL;
  hpcd_USB_OTG_FS.Init.dma_enable = DISABLE;
  hpcd_USB_OTG_FS.Init.phy_itface = PCD_PHY_EMBEDDED;
  hpcd_USB_OTG_FS.Init.Sof_enable = ENABLE;
  hpcd_USB_OTG_FS.Init.low_power_enable = DISABLE;
  hpcd_USB_OTG_FS.Init.lpm_enable = DISABLE;
  hpcd_USB_OTG_FS.Init.vbus_sensing_enable = ENABLE;
  hpcd_USB_OTG_FS.Init.use_dedicated_ep1 = DISABLE;
  if (HAL_PCD_Init(&hpcd_USB_OTG_FS) != HAL_OK)
  {
    Error_Handler();
  }

}

static void MX_DMA_Init(void)
{

  /* DMA controller clock enable */
  __HAL_RCC_DMA2_CLK_ENABLE();
  __HAL_RCC_DMA1_CLK_ENABLE();

  /* DMA interrupt init */
  /* DMA1_Stream6_IRQn interrupt configuration */
  HAL_NVIC_SetPriority(DMA1_Stream6_IRQn, 0, 0);
  HAL_NVIC_EnableIRQ(DMA1_Stream6_IRQn);
  /* DMA2_Stream0_IRQn interrupt configuration */
  HAL_NVIC_SetPriority(DMA2_Stream0_IRQn, 0, 0);
  HAL_NVIC_EnableIRQ(DMA2_Stream0_IRQn);

}

static void MX_GPIO_Init(void)
{
  GPIO_InitTypeDef GPIO_InitStruct = {0};

  /* GPIO Ports Clock Enable */
  __HAL_RCC_GPIOC_CLK_ENABLE();
  __HAL_RCC_GPIOF_CLK_ENABLE();
  __HAL_RCC_GPIOH_CLK_ENABLE();
  __HAL_RCC_GPIOA_CLK_ENABLE();
  __HAL_RCC_GPIOB_CLK_ENABLE();
  __HAL_RCC_GPIOG_CLK_ENABLE();
  __HAL_RCC_GPIOD_CLK_ENABLE();
  __HAL_RCC_GPIOE_CLK_ENABLE();

  /*Configure GPIO pin Output Level */
  HAL_GPIO_WritePin(GPIOB, GPIO_PIN_0|LD3_Pin|GPIO_PIN_7, GPIO_PIN_RESET);

  /*Configure GPIO pin Output Level */
  HAL_GPIO_WritePin(GPIOG, GPIO_PIN_0|GPIO_PIN_1, GPIO_PIN_RESET);

  /*Configure GPIO pin Output Level */
  HAL_GPIO_WritePin(GPIOD, GPIO_PIN_7, GPIO_PIN_RESET);

  /*Configure GPIO pin Output Level */
  HAL_GPIO_WritePin(GPIOE, GPIO_PIN_0, GPIO_PIN_RESET);

  /*Configure GPIO pin : USER_Btn_Pin */
  GPIO_InitStruct.Pin = USER_Btn_Pin;
  GPIO_InitStruct.Mode = GPIO_MODE_IT_RISING;
  GPIO_InitStruct.Pull = GPIO_NOPULL;
  HAL_GPIO_Init(USER_Btn_GPIO_Port, &GPIO_InitStruct);

  /*Configure GPIO pins : PB0 LD3_Pin PB7 */
  GPIO_InitStruct.Pin = GPIO_PIN_0|LD3_Pin|GPIO_PIN_7;
  GPIO_InitStruct.Mode = GPIO_MODE_OUTPUT_PP;
  GPIO_InitStruct.Pull = GPIO_NOPULL;
  GPIO_InitStruct.Speed = GPIO_SPEED_FREQ_LOW;
  HAL_GPIO_Init(GPIOB, &GPIO_InitStruct);

  /*Configure GPIO pins : PG0 PG1 */
  GPIO_InitStruct.Pin = GPIO_PIN_0|GPIO_PIN_1;
  GPIO_InitStruct.Mode = GPIO_MODE_OUTPUT_PP;
  GPIO_InitStruct.Pull = GPIO_NOPULL;
  GPIO_InitStruct.Speed = GPIO_SPEED_FREQ_LOW;
  HAL_GPIO_Init(GPIOG, &GPIO_InitStruct);

  /*Configure GPIO pin : PB10 */
  GPIO_InitStruct.Pin = GPIO_PIN_10;
  GPIO_InitStruct.Mode = GPIO_MODE_INPUT;
  GPIO_InitStruct.Pull = GPIO_NOPULL;
  HAL_GPIO_Init(GPIOB, &GPIO_InitStruct);

  /*Configure GPIO pin : USB_OverCurrent_Pin */
  GPIO_InitStruct.Pin = USB_OverCurrent_Pin;
  GPIO_InitStruct.Mode = GPIO_MODE_INPUT;
  GPIO_InitStruct.Pull = GPIO_NOPULL;
  HAL_GPIO_Init(USB_OverCurrent_GPIO_Port, &GPIO_InitStruct);

  /*Configure GPIO pin : PD6 */
  GPIO_InitStruct.Pin = GPIO_PIN_6;
  GPIO_InitStruct.Mode = GPIO_MODE_INPUT;
  GPIO_InitStruct.Pull = GPIO_NOPULL;
  HAL_GPIO_Init(GPIOD, &GPIO_InitStruct);

  /*Configure GPIO pin : PD7 */
  GPIO_InitStruct.Pin = GPIO_PIN_7;
  GPIO_InitStruct.Mode = GPIO_MODE_OUTPUT_PP;
  GPIO_InitStruct.Pull = GPIO_NOPULL;
  GPIO_InitStruct.Speed = GPIO_SPEED_FREQ_LOW;
  HAL_GPIO_Init(GPIOD, &GPIO_InitStruct);

  /*Configure GPIO pin : PE0 */
  GPIO_InitStruct.Pin = GPIO_PIN_0;
  GPIO_InitStruct.Mode = GPIO_MODE_OUTPUT_PP;
  GPIO_InitStruct.Pull = GPIO_NOPULL;
  GPIO_InitStruct.Speed = GPIO_SPEED_FREQ_LOW;
  HAL_GPIO_Init(GPIOE, &GPIO_InitStruct);

}

/* USER CODE BEGIN 4 */
/*
void HAL_TIM_PeriodElapsedCallback(TIM_HandleTypeDef *htim)  //1ms마다 ???���????????????????????????????????????????????????????????????? ?��??
{
	encoder_count = __HAL_TIM_GET_COUNTER(&htim4);
//	 encoder_count=TIM4->CNT;

		  printf("encoder_count = %d \r\n",encoder_count);

}*/

/* USER CODE END 4 */

void Error_Handler(void)
{
  __disable_irq();
  while (1)
  {
  }
}
